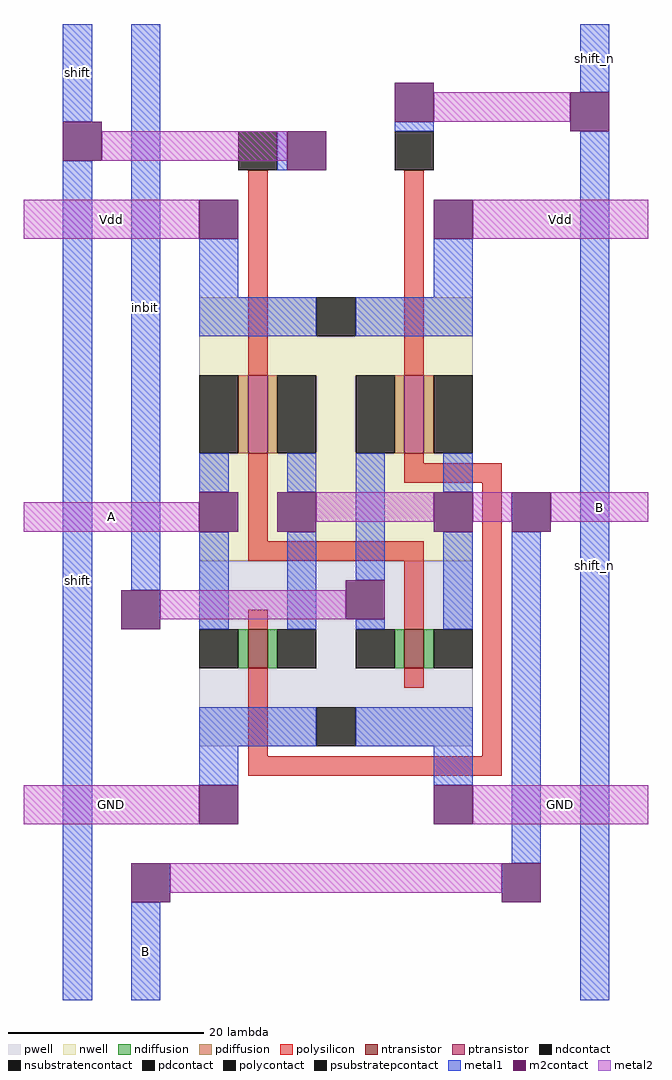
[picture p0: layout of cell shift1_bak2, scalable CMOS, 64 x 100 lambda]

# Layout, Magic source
magic
tech scmos
<< pwell >>
rect -1 3 27 22
<< nwell >>
rect -1 22 27 49
<< polysilicon >>
rect 4 41 6 62
rect 20 41 22 62
rect 4 24 6 33
rect 20 32 22 33
rect 20 30 30 32
rect 4 22 22 24
rect 4 15 6 17
rect 20 15 22 22
rect 4 2 6 11
rect 20 9 22 11
rect 28 2 30 30
rect 4 0 30 2
<< ndiffusion >>
rect 3 11 4 15
rect 6 11 7 15
rect 19 11 20 15
rect 22 11 23 15
<< pdiffusion >>
rect 3 33 4 41
rect 6 33 7 41
rect 19 33 20 41
rect 22 33 23 41
<< metal1 >>
rect -15 67 -12 77
rect -15 -23 -12 63
rect -8 19 -5 77
rect 38 70 41 77
rect 19 66 23 67
rect 7 62 8 66
rect -1 49 3 55
rect 23 49 27 55
rect -1 45 11 49
rect 15 45 27 49
rect -1 29 2 33
rect 8 29 11 33
rect -1 15 2 25
rect 8 15 11 25
rect 15 20 18 33
rect 24 29 27 33
rect 15 15 18 16
rect 24 15 27 25
rect -1 3 11 7
rect 15 3 27 7
rect -1 -1 3 3
rect 23 -1 27 3
rect 31 -9 34 25
rect -8 -23 -5 -13
rect 38 -23 41 66
<< metal2 >>
rect 23 67 37 70
rect -11 63 8 66
rect -19 55 -1 59
rect 27 55 45 59
rect -19 25 -1 28
rect 11 26 23 29
rect 27 26 31 29
rect 35 26 45 29
rect -5 16 14 19
rect -19 -5 -1 -1
rect 27 -5 45 -1
rect -4 -12 30 -9
<< ntransistor >>
rect 4 11 6 15
rect 20 11 22 15
<< ptransistor >>
rect 4 33 6 41
rect 20 33 22 41
<< polycontact >>
rect 3 62 7 66
rect 19 62 23 66
<< ndcontact >>
rect -1 11 3 15
rect 7 11 11 15
rect 15 11 19 15
rect 23 11 27 15
<< pdcontact >>
rect -1 33 3 41
rect 7 33 11 41
rect 15 33 19 41
rect 23 33 27 41
<< m2contact >>
rect -15 63 -11 67
rect 19 67 23 71
rect 37 66 41 70
rect 8 62 12 66
rect -1 55 3 59
rect 23 55 27 59
rect -9 15 -5 19
rect -1 25 3 29
rect 7 25 11 29
rect 23 25 27 29
rect 14 16 18 20
rect 31 25 35 29
rect -1 -5 3 -1
rect 23 -5 27 -1
rect -8 -13 -4 -9
rect 30 -13 34 -9
<< psubstratepcontact >>
rect 11 3 15 7
<< nsubstratencontact >>
rect 11 45 15 49
<< labels >>
rlabel metal2 -19 55 -1 59 7 Vdd
rlabel metal2 -19 -5 -1 -1 7 GND
rlabel metal2 27 55 45 59 3 Vdd
rlabel metal2 35 26 45 29 3 B
rlabel metal2 27 -5 45 -1 3 GND
rlabel metal1 -15 67 -12 77 1 shift
rlabel metal1 38 70 41 77 1 shift_n
rlabel metal1 -15 -23 -12 63 5 shift
rlabel metal1 -8 -23 -5 -13 5 B
rlabel metal1 38 -23 41 66 5 shift_n
rlabel metal1 -8 19 -5 77 1 inbit
rlabel metal2 -19 25 -1 28 7 A
<< end >>
